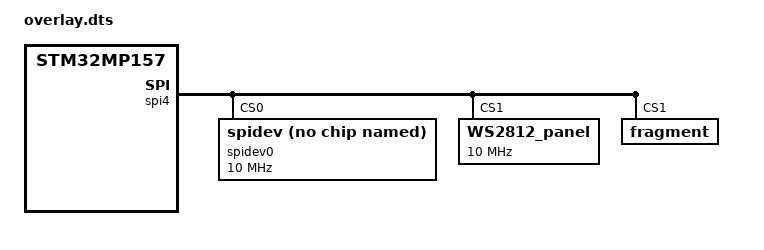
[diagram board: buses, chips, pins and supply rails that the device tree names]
/dts-v1/;
/plugin/;

#include "stm32mp157.dtsi"
#include "stm32mp15xc.dtsi"
#include "stm32mp15-pinctrl.dtsi"
#include "stm32mp15xxac-pinctrl.dtsi"
#include "stm32mp15xx-dkx.dtsi"

&spi4 {
    pinctrl-names = "default";
    pinctrl-0 = <&spi4_pins_a>;
	status = "okay";

	spidev0: spidev@0{
		compatible = "spidev";
		reg = <0>;
		spi-max-frequency = <10000000>;
	};

    WS2812_panel: WS2812_panel@1{
        compatible = "WS2812_panel";
        reg = <1>;
        spi-max-frequency = <10000000>;
    };

	    fragment@0 {
        target = <&WS2812_panel>;
		    reg = <1>;
        __overlay__ {
            status = "okay";
        };
    };

};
